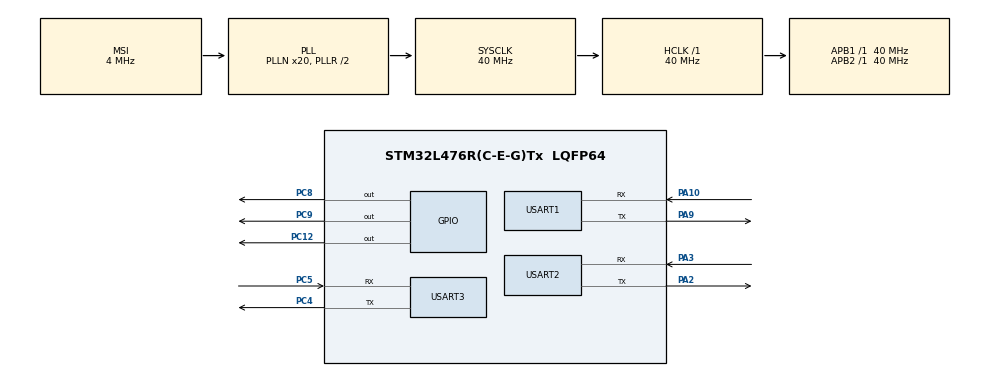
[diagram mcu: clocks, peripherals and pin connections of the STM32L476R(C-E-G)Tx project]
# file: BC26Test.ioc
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Mcu.Family=STM32L4
Mcu.Name=STM32L476R(C-E-G)Tx
Mcu.Package=LQFP64
NVIC.PriorityGroup=NVIC_PRIORITYGROUP_4
NVIC.RCC_IRQn=true\:0\:0\:false\:false\:true\:true
NVIC.TIM2_IRQn=true\:1\:0\:true\:false\:true\:true
NVIC.USART1_IRQn=true\:3\:0\:true\:false\:true\:true
NVIC.USART2_IRQn=true\:2\:0\:true\:false\:true\:true
NVIC.USART3_IRQn=true\:1\:0\:true\:false\:true\:true
PA10.Mode=Asynchronous
PA10.Signal=USART1_RX
PA13\ (JTMS-SWDIO).Mode=Serial_Wire
PA13\ (JTMS-SWDIO).Signal=SYS_JTMS-SWDIO
PA14\ (JTCK-SWCLK).Mode=Serial_Wire
PA14\ (JTCK-SWCLK).Signal=SYS_JTCK-SWCLK
PA2.Mode=Asynchronous
PA2.Signal=USART2_TX
PA3.Mode=Asynchronous
PA3.Signal=USART2_RX
PA9.Mode=Asynchronous
PA9.Signal=USART1_TX
PC12.GPIO_PuPd=GPIO_PULLUP
PC12.GPIO_Speed=GPIO_SPEED_FREQ_MEDIUM
PC12.PinState=GPIO_PIN_RESET
PC12.Signal=GPIO_Output
PC4.Mode=Asynchronous
PC4.Signal=USART3_TX
PC5.Mode=Asynchronous
PC5.Signal=USART3_RX
PC8.GPIO_ModeDefaultOutputPP=GPIO_MODE_OUTPUT_PP
PC8.GPIO_PuPd=GPIO_PULLUP
PC8.GPIO_Speed=GPIO_SPEED_FREQ_MEDIUM
PC8.Signal=GPIO_Output
PC9.GPIO_PuPd=GPIO_PULLDOWN
PC9.GPIO_Speed=GPIO_SPEED_FREQ_MEDIUM
PC9.Signal=GPIO_Output
PH0-OSC_IN\ (PH0).Mode=HSE-External-Oscillator
PH0-OSC_IN\ (PH0).Signal=RCC_OSC_IN
PH1-OSC_OUT\ (PH1).Mode=HSE-External-Oscillator
PH1-OSC_OUT\ (PH1).Signal=RCC_OSC_OUT
ProjectManager.HeapSize=0x200
ProjectManager.StackSize=0x400
ProjectManager.TargetToolchain=MDK-ARM V5
RCC.AHBFreq_Value=40000000
RCC.APB1Freq_Value=40000000
RCC.APB1TimFreq_Value=40000000
RCC.APB2Freq_Value=40000000
RCC.APB2TimFreq_Value=40000000
RCC.CortexFreq_Value=40000000
RCC.HCLKFreq_Value=40000000
RCC.HSE_VALUE=8000000
RCC.HSI_VALUE=16000000
RCC.LSE_VALUE=32768
RCC.MSI_VALUE=4000000
RCC.PLLN=20
RCC.SYSCLKFreq_VALUE=40000000
RCC.SYSCLKSource=RCC_SYSCLKSOURCE_PLLCLK
RCC.VCOOutputFreq_Value=80000000
TIM2.Period=1000
TIM2.Prescaler=40
USART1.VirtualMode-Asynchronous=VM_ASYNC
USART1.WordLength=WORDLENGTH_8B
USART2.VirtualMode-Asynchronous=VM_ASYNC
USART2.WordLength=WORDLENGTH_8B
USART3.VirtualMode-Asynchronous=VM_ASYNC
USART3.WordLength=WORDLENGTH_8B
VP_TIM2_VS_ClockSourceINT.Mode=Internal
board=BC26Test

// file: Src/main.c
/**
  ******************************************************************************
  * File Name          : main.c
  * Description        : Main program body
  ******************************************************************************
  ** This notice applies to any and all portions of this file
  * that are not between comment pairs USER CODE BEGIN and
  * USER CODE END. Other portions of this file, whether
  * inserted by the user or by software development tools
  * are owned by their respective copyright owners.
  *
  * COPYRIGHT(c) 2019 STMicroelectronics
  *
  * Redistribution and use in source and binary forms, with or without modification,
  * are permitted provided that the following conditions are met:
  *   1. Redistributions of source code must retain the above copyright notice,
  *      this list of conditions and the following disclaimer.
  *   2. Redistributions in binary form must reproduce the above copyright notice,
  *      this list of conditions and the following disclaimer in the documentation
  *      and/or other materials provided with the distribution.
  *   3. Neither the name of STMicroelectronics nor the names of its contributors
  *      may be used to endorse or promote products derived from this software
  *      without specific prior written permission.
  *
  * THIS SOFTWARE IS PROVIDED BY THE COPYRIGHT HOLDERS AND CONTRIBUTORS "AS IS"
  * AND ANY EXPRESS OR IMPLIED WARRANTIES, INCLUDING, BUT NOT LIMITED TO, THE
  * IMPLIED WARRANTIES OF MERCHANTABILITY AND FITNESS FOR A PARTICULAR PURPOSE ARE
  * DISCLAIMED. IN NO EVENT SHALL THE COPYRIGHT HOLDER OR CONTRIBUTORS BE LIABLE
  * FOR ANY DIRECT, INDIRECT, INCIDENTAL, SPECIAL, EXEMPLARY, OR CONSEQUENTIAL
  * DAMAGES (INCLUDING, BUT NOT LIMITED TO, PROCUREMENT OF SUBSTITUTE GOODS OR
  * SERVICES; LOSS OF USE, DATA, OR PROFITS; OR BUSINESS INTERRUPTION) HOWEVER
  * CAUSED AND ON ANY THEORY OF LIABILITY, WHETHER IN CONTRACT, STRICT LIABILITY,
  * OR TORT (INCLUDING NEGLIGENCE OR OTHERWISE) ARISING IN ANY WAY OUT OF THE USE
  * OF THIS SOFTWARE, EVEN IF ADVISED OF THE POSSIBILITY OF SUCH DAMAGE.
  *
  ******************************************************************************
  */
#include "main.h"
#include "stm32l4xx_hal.h"

/* USER CODE BEGIN Includes */

#include "BC26_MQTT.h"

/* USER CODE END Includes */

TIM_HandleTypeDef htim2;

UART_HandleTypeDef huart1;
UART_HandleTypeDef huart2;
UART_HandleTypeDef huart3;

/* USER CODE BEGIN PV */
/* Private variables ---------------------------------------------------------*/
unsigned char topic[100];
unsigned char buffer1,buffer2,buffer3;
unsigned char u2_rx_buf[255];
unsigned char u2_rx_len=0;
unsigned char u3_rx_buf[255];
unsigned char u3_rx_len=0;
/* USER CODE END PV */

void SystemClock_Config(void);
static void MX_GPIO_Init(void);
static void MX_USART3_UART_Init(void);
static void MX_USART1_UART_Init(void);
static void MX_USART2_UART_Init(void);
static void MX_TIM2_Init(void);

/* USER CODE BEGIN PFP */
/* Private function prototypes -----------------------------------------------*/

/* USER CODE END PFP */

int main(void)
{

  /* MCU Configuration----------------------------------------------------------*/

  /* Reset of all peripherals, Initializes the Flash interface and the Systick. */
  HAL_Init();

  /* Configure the system clock */
  SystemClock_Config();

  /* Initialize all configured peripherals */
  MX_GPIO_Init();
  MX_USART3_UART_Init();
  MX_USART1_UART_Init();
  MX_USART2_UART_Init();
  MX_TIM2_Init();

  /* USER CODE BEGIN 2 */

	mqtt.MQTTID=0;
	mqtt.qos=1;
	mqtt.msgid="1";
	mqtt.retain=0;
	mqtt.clientID="clientExample";

	 HAL_TIM_Base_Start_IT(&htim2);

	HAL_UART_Receive_IT(&huart2,&buffer2,1);
	HAL_UART_Receive_IT(&huart3,&buffer3,1);
	memset(u2_rx_buf,0,sizeof(u2_rx_buf));

  /* USER CODE END 2 */

  /* Infinite loop */
  /* USER CODE BEGIN WHILE */
  while (1)
  {

		uart2out("\r\n");
		uart2out("请选择需要的服务：\r\n\r\n");
		uart2out("$1.订阅\r\n\r\n");
		uart2out("$2.推送数据\r\n\r\n");
		uart2out("$3.设备上线\r\n\r\n");
		uart2out("$4.设备下线\r\n\r\n");
		while(1)
		{
			if(NULL!=strstr((const char*)u2_rx_buf,"$1"))
			{
				memset(u2_rx_buf,0,sizeof(u2_rx_buf));u2_rx_len=0;
				uart2out("请输入要订阅的Topic路径：\r\n\r\n");
				while(strlen((const char*)u2_rx_buf)==0)
				{
					HAL_Delay(1000);
				}
				SubTpoic(&huart3,(char*)u2_rx_buf);
				memset(u2_rx_buf,0,sizeof(u2_rx_buf));u2_rx_len=0;break;
			}

			else if(NULL!=strstr((const char*)u2_rx_buf,"$2"))
			{
				memset(u2_rx_buf,0,sizeof(u2_rx_buf));u2_rx_len=0;
				uart2out("请输入要推送的数据的topic：\r\n\r\n");
				while(strlen((const char*)u2_rx_buf)==0)
				{
					HAL_Delay(1000);
				}
				strcpy((char*)topic,(char*)u2_rx_buf);
				memset(u2_rx_buf,0,sizeof(u2_rx_buf));u2_rx_len=0;
				uart2out("请输入要推送的数据：\r\n\r\n");
				while(strlen((const char*)u2_rx_buf)==0)
				{
					HAL_Delay(1000);
				}
				PUBMSG(&huart3,(char*)topic,(char*)u2_rx_buf);

				memset(u2_rx_buf,0,sizeof(u2_rx_buf));u2_rx_len=0;break;
			}

			else if(NULL!=strstr((const char*)u2_rx_buf,"$3"))
			{
				Aliyunonline(&huart3);
				HAL_Delay(1000);
				memset(u2_rx_buf,0,sizeof(u2_rx_buf));u2_rx_len=0;break;
			}

			else if(NULL!=strstr((const char*)u2_rx_buf,"$4"))
			{
				offline(&huart3);
				memset(u2_rx_buf,0,sizeof(u2_rx_buf));u2_rx_len=0;
				break;
			}

  /* USER CODE END WHILE */

  }

	}
}

/** System Clock Configuration
*/
void SystemClock_Config(void)
{

  RCC_OscInitTypeDef RCC_OscInitStruct;
  RCC_ClkInitTypeDef RCC_ClkInitStruct;
  RCC_PeriphCLKInitTypeDef PeriphClkInit;

    /**Initializes the CPU, AHB and APB busses clocks
    */
  RCC_OscInitStruct.OscillatorType = RCC_OSCILLATORTYPE_MSI;
  RCC_OscInitStruct.MSIState = RCC_MSI_ON;
  RCC_OscInitStruct.MSICalibrationValue = 0;
  RCC_OscInitStruct.MSIClockRange = RCC_MSIRANGE_6;
  RCC_OscInitStruct.PLL.PLLState = RCC_PLL_ON;
  RCC_OscInitStruct.PLL.PLLSource = RCC_PLLSOURCE_MSI;
  RCC_OscInitStruct.PLL.PLLN = 20;
  RCC_OscInitStruct.PLL.PLLP = RCC_PLLP_DIV7;
  RCC_OscInitStruct.PLL.PLLQ = RCC_PLLQ_DIV2;
  RCC_OscInitStruct.PLL.PLLR = RCC_PLLR_DIV2;
  if (HAL_RCC_OscConfig(&RCC_OscInitStruct) != HAL_OK)
  {
    _Error_Handler(__FILE__, __LINE__);
  }

    /**Initializes the CPU, AHB and APB busses clocks
    */
  RCC_ClkInitStruct.ClockType = RCC_CLOCKTYPE_HCLK|RCC_CLOCKTYPE_SYSCLK
                              |RCC_CLOCKTYPE_PCLK1|RCC_CLOCKTYPE_PCLK2;
  RCC_ClkInitStruct.SYSCLKSource = RCC_SYSCLKSOURCE_PLLCLK;
  RCC_ClkInitStruct.AHBCLKDivider = RCC_SYSCLK_DIV1;
  RCC_ClkInitStruct.APB1CLKDivider = RCC_HCLK_DIV1;
  RCC_ClkInitStruct.APB2CLKDivider = RCC_HCLK_DIV1;

  if (HAL_RCC_ClockConfig(&RCC_ClkInitStruct, FLASH_LATENCY_1) != HAL_OK)
  {
    _Error_Handler(__FILE__, __LINE__);
  }

  PeriphClkInit.PeriphClockSelection = RCC_PERIPHCLK_USART1|RCC_PERIPHCLK_USART2
                              |RCC_PERIPHCLK_USART3;
  PeriphClkInit.Usart1ClockSelection = RCC_USART1CLKSOURCE_PCLK2;
  PeriphClkInit.Usart2ClockSelection = RCC_USART2CLKSOURCE_PCLK1;
  PeriphClkInit.Usart3ClockSelection = RCC_USART3CLKSOURCE_PCLK1;
  if (HAL_RCCEx_PeriphCLKConfig(&PeriphClkInit) != HAL_OK)
  {
    _Error_Handler(__FILE__, __LINE__);
  }

    /**Configure the main internal regulator output voltage
    */
  if (HAL_PWREx_ControlVoltageScaling(PWR_REGULATOR_VOLTAGE_SCALE1) != HAL_OK)
  {
    _Error_Handler(__FILE__, __LINE__);
  }

    /**Configure the Systick interrupt time
    */
  HAL_SYSTICK_Config(HAL_RCC_GetHCLKFreq()/1000);

    /**Configure the Systick
    */
  HAL_SYSTICK_CLKSourceConfig(SYSTICK_CLKSOURCE_HCLK);

  /* SysTick_IRQn interrupt configuration */
  HAL_NVIC_SetPriority(SysTick_IRQn, 0, 0);
}

/* TIM2 init function */
static void MX_TIM2_Init(void)
{

  TIM_ClockConfigTypeDef sClockSourceConfig;
  TIM_MasterConfigTypeDef sMasterConfig;

  htim2.Instance = TIM2;
  htim2.Init.Prescaler = 40;
  htim2.Init.CounterMode = TIM_COUNTERMODE_UP;
  htim2.Init.Period = 1000;
  htim2.Init.ClockDivision = TIM_CLOCKDIVISION_DIV1;
  htim2.Init.AutoReloadPreload = TIM_AUTORELOAD_PRELOAD_DISABLE;
  if (HAL_TIM_Base_Init(&htim2) != HAL_OK)
  {
    _Error_Handler(__FILE__, __LINE__);
  }

  sClockSourceConfig.ClockSource = TIM_CLOCKSOURCE_INTERNAL;
  if (HAL_TIM_ConfigClockSource(&htim2, &sClockSourceConfig) != HAL_OK)
  {
    _Error_Handler(__FILE__, __LINE__);
  }

  sMasterConfig.MasterOutputTrigger = TIM_TRGO_RESET;
  sMasterConfig.MasterSlaveMode = TIM_MASTERSLAVEMODE_DISABLE;
  if (HAL_TIMEx_MasterConfigSynchronization(&htim2, &sMasterConfig) != HAL_OK)
  {
    _Error_Handler(__FILE__, __LINE__);
  }

}

/* USART1 init function */
static void MX_USART1_UART_Init(void)
{

  huart1.Instance = USART1;
  huart1.Init.BaudRate = 115200;
  huart1.Init.WordLength = UART_WORDLENGTH_8B;
  huart1.Init.StopBits = UART_STOPBITS_1;
  huart1.Init.Parity = UART_PARITY_NONE;
  huart1.Init.Mode = UART_MODE_TX_RX;
  huart1.Init.HwFlowCtl = UART_HWCONTROL_NONE;
  huart1.Init.OverSampling = UART_OVERSAMPLING_16;
  huart1.Init.OneBitSampling = UART_ONE_BIT_SAMPLE_DISABLE;
  huart1.AdvancedInit.AdvFeatureInit = UART_ADVFEATURE_NO_INIT;
  if (HAL_UART_Init(&huart1) != HAL_OK)
  {
    _Error_Handler(__FILE__, __LINE__);
  }

}

/* USART2 init function */
static void MX_USART2_UART_Init(void)
{

  huart2.Instance = USART2;
  huart2.Init.BaudRate = 115200;
  huart2.Init.WordLength = UART_WORDLENGTH_8B;
  huart2.Init.StopBits = UART_STOPBITS_1;
  huart2.Init.Parity = UART_PARITY_NONE;
  huart2.Init.Mode = UART_MODE_TX_RX;
  huart2.Init.HwFlowCtl = UART_HWCONTROL_NONE;
  huart2.Init.OverSampling = UART_OVERSAMPLING_16;
  huart2.Init.OneBitSampling = UART_ONE_BIT_SAMPLE_DISABLE;
  huart2.AdvancedInit.AdvFeatureInit = UART_ADVFEATURE_NO_INIT;
  if (HAL_UART_Init(&huart2) != HAL_OK)
  {
    _Error_Handler(__FILE__, __LINE__);
  }

}

/* USART3 init function */
static void MX_USART3_UART_Init(void)
{

  huart3.Instance = USART3;
  huart3.Init.BaudRate = 115200;
  huart3.Init.WordLength = UART_WORDLENGTH_8B;
  huart3.Init.StopBits = UART_STOPBITS_1;
  huart3.Init.Parity = UART_PARITY_NONE;
  huart3.Init.Mode = UART_MODE_TX_RX;
  huart3.Init.HwFlowCtl = UART_HWCONTROL_NONE;
  huart3.Init.OverSampling = UART_OVERSAMPLING_16;
  huart3.Init.OneBitSampling = UART_ONE_BIT_SAMPLE_DISABLE;
  huart3.AdvancedInit.AdvFeatureInit = UART_ADVFEATURE_NO_INIT;
  if (HAL_UART_Init(&huart3) != HAL_OK)
  {
    _Error_Handler(__FILE__, __LINE__);
  }

}

/** Configure pins as
        * Analog
        * Input
        * Output
        * EVENT_OUT
        * EXTI
*/
static void MX_GPIO_Init(void)
{

  GPIO_InitTypeDef GPIO_InitStruct;

  /* GPIO Ports Clock Enable */
  __HAL_RCC_GPIOH_CLK_ENABLE();
  __HAL_RCC_GPIOA_CLK_ENABLE();
  __HAL_RCC_GPIOC_CLK_ENABLE();

  /*Configure GPIO pin Output Level */
  HAL_GPIO_WritePin(GPIOC, GPIO_PIN_8|GPIO_PIN_9|GPIO_PIN_12, GPIO_PIN_SET);

  /*Configure GPIO pins : PC8 PC12 */
  GPIO_InitStruct.Pin = GPIO_PIN_8|GPIO_PIN_12;
  GPIO_InitStruct.Mode = GPIO_MODE_OUTPUT_PP;
  GPIO_InitStruct.Pull = GPIO_PULLUP;
  GPIO_InitStruct.Speed = GPIO_SPEED_FREQ_MEDIUM;
  HAL_GPIO_Init(GPIOC, &GPIO_InitStruct);

  /*Configure GPIO pin : PC9 */
  GPIO_InitStruct.Pin = GPIO_PIN_9;
  GPIO_InitStruct.Mode = GPIO_MODE_OUTPUT_PP;
  GPIO_InitStruct.Pull = GPIO_PULLDOWN;
  GPIO_InitStruct.Speed = GPIO_SPEED_FREQ_MEDIUM;
  HAL_GPIO_Init(GPIOC, &GPIO_InitStruct);

}

/* USER CODE BEGIN 4 */
int count=0;
char* rcvmsg;
char* rcvtopic;
void HAL_TIM_PeriodElapsedCallback(TIM_HandleTypeDef *htim)
{
	count++;
	if(count%200==0)
	{
		if(NULL!=strstr((const char*)u3_rx_buf,"+QMTRECV:"))
		{
			rcvtopic=strtok((char*)u3_rx_buf,"\"");
			rcvtopic=strtok(NULL,"\"");
			rcvmsg=strtok(NULL,"\"");
			rcvmsg=strtok(NULL,"\"");
			uart2out("您接收到一条消息：\r\n\r\n");
			uart2out("消息的Topic为：");
			uart2out((unsigned char*)rcvtopic);
			uart2out("\r\n\r\n");
			uart2out("消息的内容为：");
			uart2out((unsigned char*)rcvmsg);
			uart2out("\r\n\r\n");
			memset(u3_rx_buf,0,sizeof(u3_rx_buf));u3_rx_len=0;
		}
	}
	if(count>1000)
	{
		count=0;HAL_GPIO_TogglePin(GPIOC,GPIO_PIN_12);
	}
}

void HAL_UART_RxCpltCallback(UART_HandleTypeDef *huart)
{
	if(huart==&huart1)
	{

	}
	else if(huart==&huart2)
	{
		//HAL_UART_Transmit(&huart2,&buffer2,1,0);
		u2_rx_buf[u2_rx_len]=buffer2;
		u2_rx_len++;
		if(u2_rx_len>255)u2_rx_len=0;
		HAL_UART_Receive_IT(&huart2,&buffer2,1);
	}
	else if(huart==&huart3)
	{
		u3_rx_buf[u3_rx_len]=buffer3;
		u3_rx_len++;
		if(u3_rx_len>255)u3_rx_len=0;
		HAL_UART_Receive_IT(&huart3,&buffer3,1);
	}
}

void uart2out(unsigned char*message)
{
	HAL_UART_Transmit(&huart2,message,strlen((const char*)message),0xFFFF);
}

/* USER CODE END 4 */

void _Error_Handler(char * file, int line)
{
  while(1)
  {
  }
}

/************************ (C) COPYRIGHT STMicroelectronics *****END OF FILE****/
